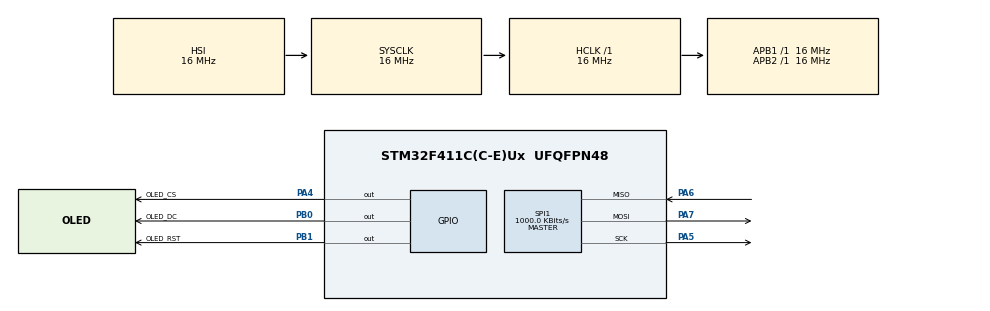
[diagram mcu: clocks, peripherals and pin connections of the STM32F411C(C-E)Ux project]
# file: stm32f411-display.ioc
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Mcu.Family=STM32F4
Mcu.Name=STM32F411C(C-E)Ux
Mcu.Package=UFQFPN48
NVIC.PriorityGroup=NVIC_PRIORITYGROUP_4
PA13.Mode=Serial_Wire
PA13.Signal=SYS_JTMS-SWDIO
PA14.Mode=Serial_Wire
PA14.Signal=SYS_JTCK-SWCLK
PA4.GPIO_Label=OLED_CS
PA4.PinState=GPIO_PIN_SET
PA4.Signal=GPIO_Output
PA5.Mode=Full_Duplex_Master
PA5.Signal=SPI1_SCK
PA6.Mode=Full_Duplex_Master
PA6.Signal=SPI1_MISO
PA7.Mode=Full_Duplex_Master
PA7.Signal=SPI1_MOSI
PB0.GPIO_Label=OLED_DC
PB0.Signal=GPIO_Output
PB1.GPIO_Label=OLED_RST
PB1.Signal=GPIO_Output
ProjectManager.HeapSize=0x200
ProjectManager.StackSize=0x400
ProjectManager.TargetToolchain=CMake
RCC.AHBFreq_Value=16000000
RCC.APB1Freq_Value=16000000
RCC.APB2Freq_Value=16000000
RCC.CortexFreq_Value=16000000
RCC.HSE_VALUE=25000000
RCC.HSI_VALUE=16000000
RCC.LSE_VALUE=32768
RCC.SYSCLKFreq_VALUE=16000000
RCC.VCOOutputFreq_Value=192000000
SPI1.BaudRatePrescaler=SPI_BAUDRATEPRESCALER_16
SPI1.CalculateBaudRate=1000.0 KBits/s
SPI1.Direction=SPI_DIRECTION_2LINES
SPI1.Mode=SPI_MODE_MASTER
SPI1.VirtualType=VM_MASTER
board=custom

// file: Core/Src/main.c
/* USER CODE BEGIN Header */
/**
  ******************************************************************************
  * @file           : main.c
  * @brief          : Main program body
  ******************************************************************************
  * @attention
  *
  * Copyright (c) 2026 STMicroelectronics.
  * All rights reserved.
  *
  * This software is licensed under terms that can be found in the LICENSE file
  * in the root directory of this software component.
  * If no LICENSE file comes with this software, it is provided AS-IS.
  *
  ******************************************************************************
  */
/* USER CODE END Header */
#include "main.h"

/* USER CODE BEGIN Includes */
#include "u8g2.h"
#include <stdio.h>

/* USER CODE END Includes */

SPI_HandleTypeDef hspi1;

/* USER CODE BEGIN PV */
/* Isolated bring-up only: inspect while halted in the debugger. */
volatile uint32_t bringup_heartbeat = 0U;
static uint32_t heartbeat_last_tick = 0U;
static u8g2_t oled; // display configuration and driver state for U8g2

/* USER CODE END PV */

void SystemClock_Config(void);
static void MX_GPIO_Init(void);
static void MX_SPI1_Init(void);

/* USER CODE BEGIN 0 */

/* Carry out U8g2's SPI requests using the F411's configured SPI1. */
static uint8_t OLED_U8g2Byte(u8x8_t *display, uint8_t msg, uint8_t arg_int, void *arg_ptr)
{
  /* U8g2 passes its display object. This callback uses fixed board pins. */
  (void)display;

  switch (msg)
  {
    case U8X8_MSG_BYTE_INIT:
      /* CubeMX initializes SPI1 and GPIO before U8g2 starts. */
      HAL_GPIO_WritePin(OLED_CS_GPIO_Port, OLED_CS_Pin, GPIO_PIN_SET);
      break;

    case U8X8_MSG_BYTE_START_TRANSFER:
      /* Select the OLED before the first SPI clock pulse. */
      HAL_GPIO_WritePin(OLED_CS_GPIO_Port, OLED_CS_Pin, GPIO_PIN_RESET);
      HAL_Delay(1);
      break;

    case U8X8_MSG_BYTE_SET_DC:
      /* For this message, arg_int is the pin level U8g2 requests. */
      HAL_GPIO_WritePin(OLED_DC_GPIO_Port, OLED_DC_Pin, arg_int == 0U ? GPIO_PIN_RESET : GPIO_PIN_SET);
      break;

    case U8X8_MSG_BYTE_SEND:
      /* For this message, arg_ptr is the data and arg_int is its length. */
      if (HAL_SPI_Transmit(&hspi1, arg_ptr, arg_int, 100U) != HAL_OK)
      {
        /* Deselect the panel and stop so we can inspect a failed send. */
        HAL_GPIO_WritePin(OLED_CS_GPIO_Port, OLED_CS_Pin, GPIO_PIN_SET);
        Error_Handler();
        return 0U;
      }
      break;

    case U8X8_MSG_BYTE_END_TRANSFER:
      /* Keep CS low briefly after the last byte, then release it. */
      HAL_Delay(1);
      HAL_GPIO_WritePin(OLED_CS_GPIO_Port, OLED_CS_Pin, GPIO_PIN_SET);
      break;

    default:
      return 0U;
  }

  return 1U;
}

/* Handle U8g2's reset pin and millisecond delay requests on the F411. */
static uint8_t OLED_U8g2GpioDelay(u8x8_t *display, uint8_t msg, uint8_t arg_int, void *arg_ptr)
{
  /* Keep U8g2's required function signature. These requests use msg and arg_int. */
  (void)display;
  (void)arg_ptr;

  switch (msg)
  {
    case U8X8_MSG_GPIO_AND_DELAY_INIT:
      /* main() runs the CubeMX GPIO and HAL setup before starting U8g2. */
      break;

    case U8X8_MSG_GPIO_RESET:
      /* arg_int is the requested level on PB1, the OLED reset wire. */
      HAL_GPIO_WritePin(OLED_RST_GPIO_Port, OLED_RST_Pin, arg_int == 0U ? GPIO_PIN_RESET : GPIO_PIN_SET);
      break;

    case U8X8_MSG_DELAY_MILLI:
      /* arg_int is how many milliseconds U8g2 requests. */
      HAL_Delay(arg_int);
      break;

    default:
      /* Report that this board callback does not handle the request. */
      return 0U;
  }

  return 1U;
}
/* USER CODE END 0 */

int main(void)
{

  /* MCU Configuration--------------------------------------------------------*/

  /* Reset of all peripherals, Initializes the Flash interface and the Systick. */
  HAL_Init();

  /* Configure the system clock */
  SystemClock_Config();

  /* Initialize all configured peripherals */
  MX_GPIO_Init();
  MX_SPI1_Init();

  /* USER CODE BEGIN 2 */

  /* Select a 128×64 SSD1309 preset and give U8g2 the board functions. */
  u8g2_Setup_ssd1309_128x64_noname0_f(&oled, U8G2_R0, OLED_U8g2Byte, OLED_U8g2GpioDelay);

  /* Reset the controller and send the preset's configuration commands. */
  u8g2_InitDisplay(&oled);

  /* Begin the first visible test with a low contrast setting. */
  u8g2_SetContrast(&oled, 16U);

  /* Prepare a blank image in STM32 RAM. */
  u8g2_ClearBuffer(&oled);

  /* Select a font and position text relative to its top edge. */
  u8g2_SetFont(&oled, u8g2_font_6x10_tf);
  u8g2_SetFontPosTop(&oled);

  /* Draw a label and an off-center square into the RAM image. */
  u8g2_DrawStr(&oled, 4U, 4U, "COMPACT");
  u8g2_DrawStr(&oled, 4U, 16U, "REALTIME");
  u8g2_DrawStr(&oled, 4U, 28U, "AUDIO");
  u8g2_DrawStr(&oled, 4U, 40U, "PROCESSOR");
  u8g2_DrawBox(&oled, 116U, 40U, 8U, 8U);

  /* Copy the prepared image to the OLED while its output is off. */
  u8g2_SendBuffer(&oled);

  /* Disable power-saving mode so the OLED displays the image. */
  u8g2_SetPowerSave(&oled, 0U);

  /* USER CODE END 2 */

  /* Infinite loop */
  while (1)
  {

    /* USER CODE BEGIN 3 */
    const uint32_t now = HAL_GetTick();
    if ((uint32_t)(now - heartbeat_last_tick) >= 1000U)
    {
      heartbeat_last_tick = now;
      ++bringup_heartbeat;

      /* Hold up to 10 decimal digits plus the terminating zero byte. */
      char count_text[16];

      /* Convert the heartbeat value into a decimal text string. */
      snprintf(count_text, sizeof(count_text), "%lu", (unsigned long)bringup_heartbeat);

      /* Prepare a fresh image so previous digits are erased. */
      u8g2_ClearBuffer(&oled);

      /* Draw using the font and top positioning selected during startup. */
      u8g2_DrawStr(&oled, 4U, 4U, "Count");
      u8g2_DrawStr(&oled, 4U, 20U, count_text);

      /* Transfer the updated image to the OLED. */
      u8g2_SendBuffer(&oled);
    }
  }
  /* USER CODE END 3 */
}

void SystemClock_Config(void)
{
  RCC_OscInitTypeDef RCC_OscInitStruct = {0};
  RCC_ClkInitTypeDef RCC_ClkInitStruct = {0};

  /** Configure the main internal regulator output voltage
  */
  __HAL_RCC_PWR_CLK_ENABLE();
  __HAL_PWR_VOLTAGESCALING_CONFIG(PWR_REGULATOR_VOLTAGE_SCALE1);

  /** Initializes the RCC Oscillators according to the specified parameters
  * in the RCC_OscInitTypeDef structure.
  */
  RCC_OscInitStruct.OscillatorType = RCC_OSCILLATORTYPE_HSI;
  RCC_OscInitStruct.HSIState = RCC_HSI_ON;
  RCC_OscInitStruct.HSICalibrationValue = RCC_HSICALIBRATION_DEFAULT;
  RCC_OscInitStruct.PLL.PLLState = RCC_PLL_NONE;
  if (HAL_RCC_OscConfig(&RCC_OscInitStruct) != HAL_OK)
  {
    Error_Handler();
  }

  /** Initializes the CPU, AHB and APB buses clocks
  */
  RCC_ClkInitStruct.ClockType = RCC_CLOCKTYPE_HCLK|RCC_CLOCKTYPE_SYSCLK
                              |RCC_CLOCKTYPE_PCLK1|RCC_CLOCKTYPE_PCLK2;
  RCC_ClkInitStruct.SYSCLKSource = RCC_SYSCLKSOURCE_HSI;
  RCC_ClkInitStruct.AHBCLKDivider = RCC_SYSCLK_DIV1;
  RCC_ClkInitStruct.APB1CLKDivider = RCC_HCLK_DIV1;
  RCC_ClkInitStruct.APB2CLKDivider = RCC_HCLK_DIV1;

  if (HAL_RCC_ClockConfig(&RCC_ClkInitStruct, FLASH_LATENCY_0) != HAL_OK)
  {
    Error_Handler();
  }
}

static void MX_SPI1_Init(void)
{

  /* SPI1 parameter configuration*/
  hspi1.Instance = SPI1;
  hspi1.Init.Mode = SPI_MODE_MASTER;
  hspi1.Init.Direction = SPI_DIRECTION_2LINES;
  hspi1.Init.DataSize = SPI_DATASIZE_8BIT;
  hspi1.Init.CLKPolarity = SPI_POLARITY_LOW;
  hspi1.Init.CLKPhase = SPI_PHASE_1EDGE;
  hspi1.Init.NSS = SPI_NSS_SOFT;
  hspi1.Init.BaudRatePrescaler = SPI_BAUDRATEPRESCALER_16;
  hspi1.Init.FirstBit = SPI_FIRSTBIT_MSB;
  hspi1.Init.TIMode = SPI_TIMODE_DISABLE;
  hspi1.Init.CRCCalculation = SPI_CRCCALCULATION_DISABLE;
  hspi1.Init.CRCPolynomial = 10;
  if (HAL_SPI_Init(&hspi1) != HAL_OK)
  {
    Error_Handler();
  }

}

static void MX_GPIO_Init(void)
{
  GPIO_InitTypeDef GPIO_InitStruct = {0};

  /* GPIO Ports Clock Enable */
  __HAL_RCC_GPIOA_CLK_ENABLE();
  __HAL_RCC_GPIOB_CLK_ENABLE();

  /*Configure GPIO pin Output Level */
  HAL_GPIO_WritePin(OLED_CS_GPIO_Port, OLED_CS_Pin, GPIO_PIN_SET);

  /*Configure GPIO pin Output Level */
  HAL_GPIO_WritePin(GPIOB, OLED_DC_Pin|OLED_RST_Pin, GPIO_PIN_RESET);

  /*Configure GPIO pin : OLED_CS_Pin */
  GPIO_InitStruct.Pin = OLED_CS_Pin;
  GPIO_InitStruct.Mode = GPIO_MODE_OUTPUT_PP;
  GPIO_InitStruct.Pull = GPIO_NOPULL;
  GPIO_InitStruct.Speed = GPIO_SPEED_FREQ_LOW;
  HAL_GPIO_Init(OLED_CS_GPIO_Port, &GPIO_InitStruct);

  /*Configure GPIO pins : OLED_DC_Pin OLED_RST_Pin */
  GPIO_InitStruct.Pin = OLED_DC_Pin|OLED_RST_Pin;
  GPIO_InitStruct.Mode = GPIO_MODE_OUTPUT_PP;
  GPIO_InitStruct.Pull = GPIO_NOPULL;
  GPIO_InitStruct.Speed = GPIO_SPEED_FREQ_LOW;
  HAL_GPIO_Init(GPIOB, &GPIO_InitStruct);

}

void Error_Handler(void)
{
  __disable_irq();
  while (1)
  {
  }
}
